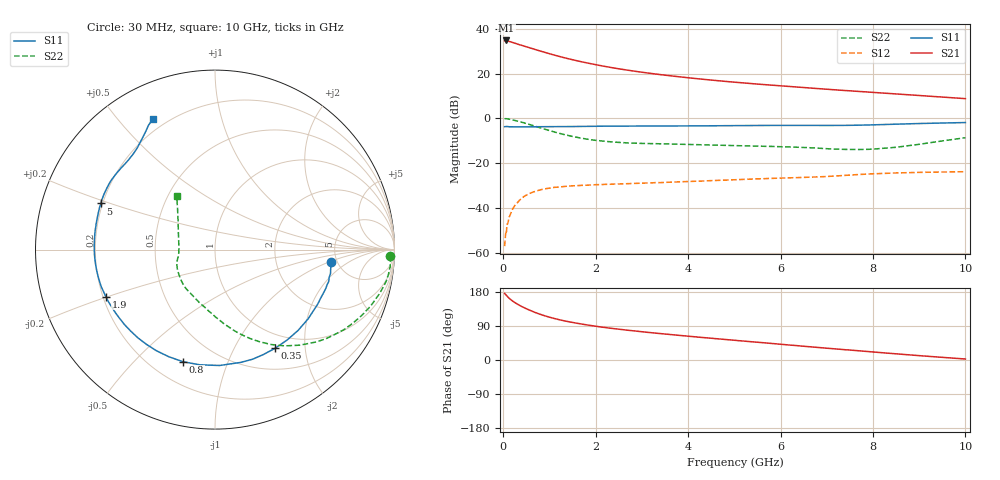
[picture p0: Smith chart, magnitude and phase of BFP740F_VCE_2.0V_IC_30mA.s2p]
! Infineon Technologies  Discrete & RF Semiconductors
! BFP740F
! VCE =  2.0 V,  IC =  30 mA
! Common Emitter S-Parameters:  Oct 2012
# GHz  S  MA  R  50
!  f  S11  S21  S12  S22
! GHz  MAG  ANG  MAG  ANG  MAG  ANG  MAG  ANG
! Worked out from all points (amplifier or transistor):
!   99 points, 30 MHz to 10 GHz, reference 50 ohm
!   highest |S21| = 34.8 dB at 70 MHz (marker M1)
!   |S21| within 3 dB of that: start of sweep to 527.9 MHz
!   unconditionally stable (mu >= 1): 5.212 GHz to end of sweep
!   at 350 MHz: K = 0.18, MSG = 34.7 dB, |S12| = -36.6 dB
!   at 3.5 GHz: K = 0.80, MSG = 23.9 dB, |S12| = -28.6 dB
!   at 10 GHz: K = 1.18, MAG = 13.7 dB, |S12| = -23.8 dB
!   S11 on the Smith chart (normalised r, x): 30 MHz: 4.46, -1.05; 350 MHz: 0.79, -1.48; 800 MHz: 0.33, -0.70; 1.9 GHz: 0.21, -0.20; 5 GHz: 0.19, +0.19; 10 GHz: 0.15, +0.62
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0.03  0.6503 -6.0  53.87 175.8  0.0014 94.1  0.9754 -2.1
0.05  0.6537 -9.7  54.59 173.2  0.0025 95.9  0.9794 -4.5
0.07  0.6546 -13.6  54.67 170.3  0.0029 80.5  0.9772 -6.8
0.13  0.6478 -24.9  51.92 162.8  0.0063 79.5  0.9571 -13.2
0.2  0.6465 -36.6  49.38 155.8  0.0093 75.1  0.9232 -19.8
0.25  0.6459 -44.2  47.64 151.7  0.0113 73.0  0.8973 -24.0
0.35  0.6438 -58.6  43.88 144.4  0.0148 65.7  0.8457 -31.8
0.45  0.6457 -71.1  40.97 138.2  0.018 60.2  0.7926 -38.8
0.6  0.6462 -87.7  36.79 130.0  0.0217 53.4  0.712 -48.4
0.8  0.6496 -105.9  31.78 120.6  0.0253 45.8  0.6153 -59.3
1  0.6512 -120.1  27.66 113.0  0.0276 40.6  0.5332 -68.4
1.2  0.6529 -131.3  24.25 106.7  0.0292 36.6  0.467 -76.3
1.4  0.6548 -140.3  21.48 101.4  0.0306 34.0  0.4154 -83.2
1.7  0.6583 -150.9  18.23 94.8  0.0319 31.0  0.3584 -92.5
1.9  0.6621 -156.7  16.53 91.0  0.0326 29.9  0.3323 -98.4
2.6  0.6698 -171.5  12.28 79.9  0.0345 28.2  0.2862 -115.2
3.4  0.6738 176.7  9.452 69.7  0.0367 28.1  0.27 -127.2
5  0.6865 158.0  6.41 52.1  0.0425 28.5  0.246 -143.8
5.1  0.688 157.1  6.282 51.0  0.0429 28.5  0.2447 -145.1
6.7  0.6932 140.6  4.693 34.3  0.0488 28.6  0.2185 -164.2
8.5  0.7397 123.3  3.5 16.3  0.0603 24.6  0.2257 154.7
10  0.8039 115.6  2.748 2.6  0.0643 19.0  0.3686 125.5
